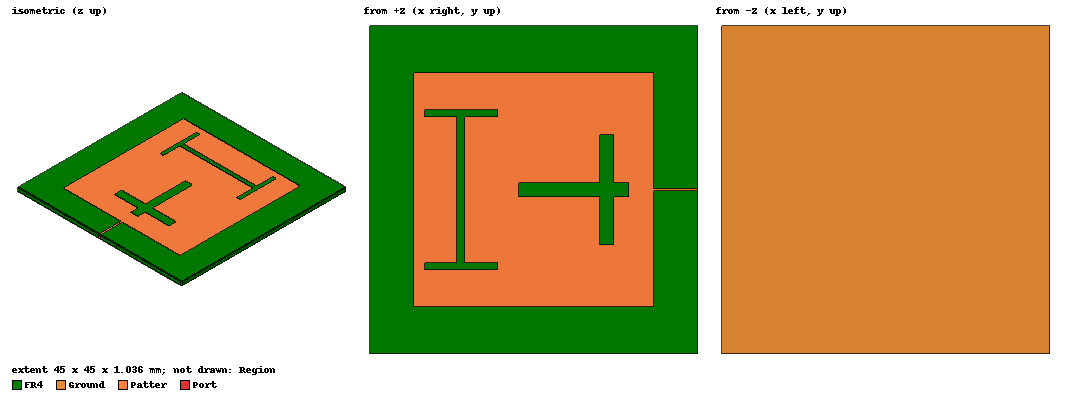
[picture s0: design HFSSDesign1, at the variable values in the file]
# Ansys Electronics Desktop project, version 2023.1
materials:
  vacuum: permittivity=1
  FR4_epoxy: permittivity=4.4 dielectric_loss_tangent=0.02
  copper: permeability=0.999991 conductivity=58000000

design HFSSDesign1 (HFSS, HFSS Modal Network, model units mm)
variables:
  h = 1mm
  Lg = 45mm
  Wg = 45mm
  t = 0.018mm
  L = 33mm
  W = 32mm
  lambda = 328mm
  w0 = 0.4mm
  io = 10mm
  i = 2mm
  i1 = 15mm
  s1 = 2mm
  io1 = 13mm
  io2 = 10mm
  i2 = 1mm
  s2 = 20mm
  io3 = 10mm
  i3 = 10mm
  s3 = 1mm
  s = 15mm
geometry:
  FR4 [FR4_epoxy] = box(corner=(-Lg/2, -Wg/2, 0mm), size=(Lg, Wg, h))
  Ground [copper] = box(corner=(-Lg/2, -Wg/2, -t), size=(Lg, Wg, t))
  Patter [copper] = box(corner=(-L/2, -W/2, h), size=(L, W, t))
  Box1 = box(corner=(io-i/2, -s/2, h), size=(i, s, t))
  Box2 = box(corner=(io1-i1, -s1/2, h), size=(i1, s1, t))
  Box3 = box(corner=(-io2-i2/2, -s2/2, h), size=(i2, s2, t))
  Box4 = box(corner=(-io3-i3/2, -s2/2-s3, h), size=(i3, s3, t))
  Box4_1 = Box4.duplicate_mirror(point=(0mm, 0mm, 0mm), normal=(0mm, 1mm, 0mm))
  Patter.subtract(Box1..Box4, Box4_1)
  Mline = box(corner=(L/2, -w0/2, h), size=(Lg/2-L/2, w0, t))
  Patter.unite(Mline)
  Region [vacuum] = region(absolute_offset=lambda/4 on all sides)
  Port = rectangle(corner=(Lg/2, -w0/2, 0mm), y_size=w0, z_size=h+t)
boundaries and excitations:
  Rad1: Radiation Objects=Region
  P1: Lumped Port Objects=Port LumpedPortType=Modal Modes{Mode1{IntLine{(22.5, 0, 0) -> (22.5, 0, 1.018)} CharImp=Zpi RenormImp=100ohm}} Impedance=100ohm
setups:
  Setup1: HfssDriven Frequency=0.915GHz MaxDeltaS=0.02 MaximumPasses=25 MinimumPasses=1 MinimumConvergedPasses=1 PercentRefinement=30 BasisOrder=1 PortAccuracy=2 DrivenSolverType="Direct Solver"
    sweep Sweep: 0.4575GHz to 1.6GHz, 401 points; Type=Fast SaveFields
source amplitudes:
  P1:1: 1V 0deg
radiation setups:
  Infinite Sphere1: Infinite Sphere Theta=-180deg..180deg step 1deg Phi=0deg..90deg step 90deg
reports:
  S Parameter Plot 1: dB(S(P1,P1)) vs Freq on Setup1 : Sweep
  Gain Plot 1: dB(GainTotal) vs Theta on Setup1 : LastAdaptive, Infinite Sphere1 [Phi=all Freq=0.915GHz]
